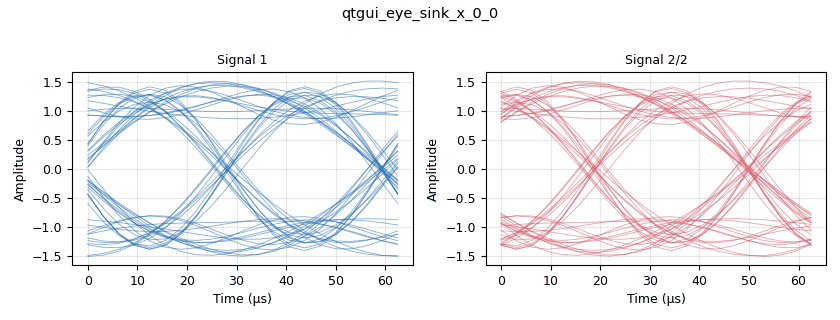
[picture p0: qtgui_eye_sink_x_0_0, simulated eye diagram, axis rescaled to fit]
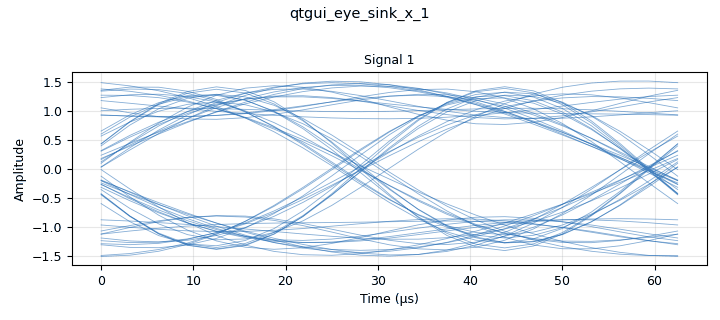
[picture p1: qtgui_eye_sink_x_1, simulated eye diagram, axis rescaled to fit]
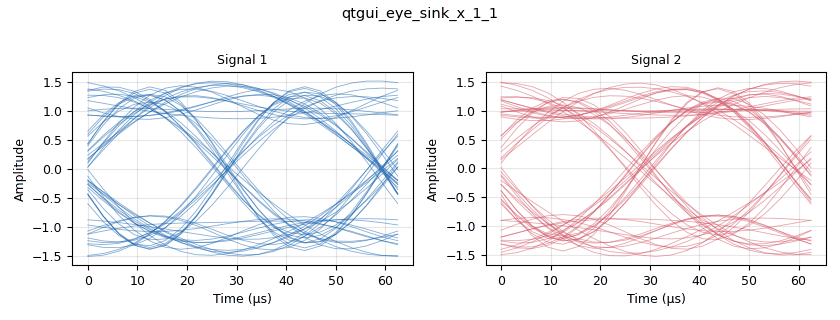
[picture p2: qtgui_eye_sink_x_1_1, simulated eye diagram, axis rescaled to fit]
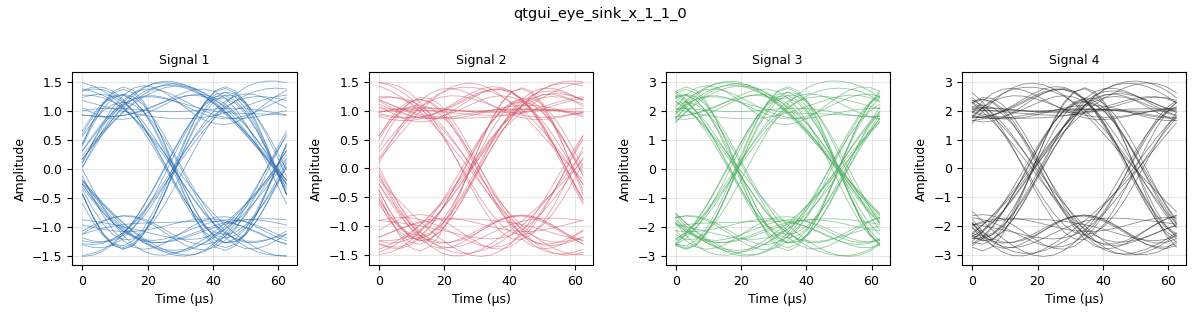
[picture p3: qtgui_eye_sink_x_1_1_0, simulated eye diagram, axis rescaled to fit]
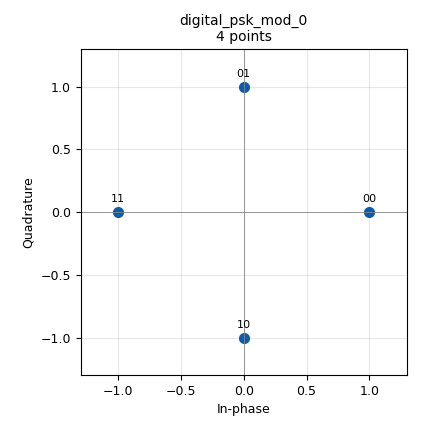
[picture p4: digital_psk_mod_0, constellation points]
options:
  parameters:
    category: Custom
    generate_options: qt_gui
    id: pyqt_eye_sink
    output_language: python
  states: {}

blocks:
- name: freq_bw
  id: variable_qtgui_range
  parameters:
    gui_hint: 1, 0, 1, 2
    orient: Qt.Horizontal
    start: '0'
    step: '0.001'
    stop: '0.1'
    value: '0'
  states: {}
- name: freq_offset
  id: variable_qtgui_range
  parameters:
    gui_hint: 0, 1, 1, 1
    label: Frequency Offset
    orient: Qt.Horizontal
    start: '-.5'
    step: '0.01'
    stop: '.5'
    value: '0'
  states: {}
- name: noise_amp
  id: variable_qtgui_range
  parameters:
    gui_hint: 0, 0, 1, 1
    label: Channel Noise
    orient: Qt.Horizontal
    start: '0'
    step: '0.01'
    stop: '1'
    value: '0'
  states: {}
- name: rolloff
  id: variable
  parameters:
    value: '0.35'
  states: {}
- name: samp_rate
  id: variable
  parameters:
    value: 32000*sps
  states: {}
- name: sps
  id: variable
  parameters:
    value: '8'
  states: {state: disabled}
- name: sps
  id: variable_qtgui_range
  parameters:
    gui_hint: 3,0,1,1
    label: Samples per symbol
    orient: Qt.Vertical
    rangeType: int
    start: '3'
    step: '1'
    stop: '10'
    value: '10'
  states: {}
- name: analog_random_source_x
  id: analog_random_source_x
  parameters:
    max: '256'
    min: '0'
    num_samps: '10000000'
    repeat: 'True'
    type: byte
  states: {}
- name: blocks_add_xx_0
  id: blocks_add_xx
  parameters:
    type: complex
  states: {state: disabled}
- name: blocks_add_xx_0_0
  id: blocks_add_xx
  parameters:
    type: complex
  states: {}
- name: blocks_add_xx_0_0_0
  id: blocks_add_xx
  parameters:
    type: complex
  states: {}
- name: blocks_complex_to_real_0
  id: blocks_complex_to_real
  parameters: {}
  states: {}
- name: blocks_complex_to_real_0_0
  id: blocks_complex_to_real
  parameters: {}
  states: {}
- name: blocks_multiply_const_vxx_0
  id: blocks_multiply_const_vxx
  parameters:
    const: '2'
    type: complex
  states: {}
- name: blocks_multiply_const_vxx_0_0
  id: blocks_multiply_const_vxx
  parameters:
    const: 1+1j
    type: complex
  states: {}
- name: blocks_null_sink_0
  id: blocks_null_sink
  parameters:
    type: float
  states: {}
- name: blocks_tags_strobe_0
  id: blocks_tags_strobe
  parameters:
    key: pmt.intern("strobe")
    nsamps: '202'
    type: complex
    value: pmt.intern("TEST")
  states: {state: disabled}
- name: blocks_tags_strobe_0_0
  id: blocks_tags_strobe
  parameters:
    key: pmt.intern("strobe")
    nsamps: '202'
    type: complex
    value: pmt.intern("TEST")
  states: {}
- name: blocks_tags_strobe_0_0_0
  id: blocks_tags_strobe
  parameters:
    key: pmt.intern("strobe")
    nsamps: '2000'
    type: complex
    value: pmt.intern("TEST")
  states: {}
- name: blocks_throttle_0
  id: blocks_throttle
  parameters:
    samples_per_second: samp_rate
    type: complex
  states: {}
- name: channels_channel_model_0
  id: channels_channel_model
  parameters:
    epsilon: '1.0'
    freq_offset: freq_offset
    noise_voltage: noise_amp
    seed: '0'
    taps: 1.0 + 1.0j
  states: {}
- name: digital_psk_mod_0
  id: digital_psk_mod
  parameters:
    constellation_points: '4'
    differential: 'False'
    excess_bw: rolloff
    mod_code: '"gray"'
    samples_per_symbol: sps
  states: {}
- name: notebook
  id: qtgui_tab_widget
  parameters:
    gui_hint: 4, 0, 6, 2
    label0: Eye Sink (Float) 2
    label1: Eye Sink (Complex) 2
    label2: Eye Sink (Float) 1
    label3: Eye Sink (Complex)1
    num_tabs: '4'
  states: {}
- name: qtgui_eye_sink_x_0
  id: qtgui_eye_sink_x
  parameters:
    color2: red
    color3: green
    color4: black
    gui_hint: notebook@1
    name: '""'
    nconnections: '2'
    samp_per_symbol: sps
    size: '1024'
    srate: samp_rate
    type: complex
  states: {state: disabled}
- name: qtgui_eye_sink_x_0_0
  id: qtgui_eye_sink_x
  parameters:
    color2: red
    entags: 'False'
    gui_hint: notebook@0
    label1: ''
    label2: Signal 2/2
    name: '""'
    nconnections: '2'
    samp_per_symbol: sps
    size: '1024'
    srate: samp_rate
    type: float
  states: {}
- name: qtgui_eye_sink_x_1
  id: qtgui_eye_sink_x
  parameters:
    entags: 'False'
    gui_hint: notebook@2
    label1: ''
    name: '""'
    samp_per_symbol: sps
    size: '1024'
    srate: samp_rate
    type: float
  states: {}
- name: qtgui_eye_sink_x_1_0
  id: qtgui_eye_sink_x
  parameters:
    color2: red
    gui_hint: notebook@3
    name: '""'
    samp_per_symbol: sps
    size: '1024'
    srate: samp_rate
    type: complex
  states: {state: disabled}
- name: qtgui_eye_sink_x_1_1
  id: qtgui_eye_sink_x
  parameters:
    color2: red
    entags: 'False'
    gui_hint: notebook@3
    label1: ''
    name: '""'
    samp_per_symbol: sps
    size: '1024'
    srate: samp_rate
    type: complex
  states: {}
- name: qtgui_eye_sink_x_1_1_0
  id: qtgui_eye_sink_x
  parameters:
    color2: red
    color3: green
    color4: black
    entags: 'False'
    gui_hint: notebook@1
    label1: ''
    label2: ''
    name: '""'
    nconnections: '2'
    samp_per_symbol: sps
    size: '1024'
    srate: samp_rate
    type: complex
  states: {}

connections:
- [analog_random_source_x, '0', digital_psk_mod_0, '0']
- [blocks_add_xx_0, '0', blocks_throttle_0, '0']
- [blocks_add_xx_0_0, '0', qtgui_eye_sink_x_1_1_0, '0']
- [blocks_add_xx_0_0_0, '0', blocks_complex_to_real_0_0, '0']
- [blocks_complex_to_real_0, '0', qtgui_eye_sink_x_0_0, '0']
- [blocks_complex_to_real_0, '0', qtgui_eye_sink_x_1, '0']
- [blocks_complex_to_real_0_0, '0', blocks_null_sink_0, '0']
- [blocks_complex_to_real_0_0, '0', qtgui_eye_sink_x_0_0, '1']
- [blocks_multiply_const_vxx_0, '0', qtgui_eye_sink_x_0, '1']
- [blocks_multiply_const_vxx_0, '0', qtgui_eye_sink_x_1_0, '0']
- [blocks_multiply_const_vxx_0, '0', qtgui_eye_sink_x_1_1_0, '1']
- [blocks_multiply_const_vxx_0_0, '0', blocks_add_xx_0_0, '0']
- [blocks_multiply_const_vxx_0_0, '0', blocks_complex_to_real_0, '0']
- [blocks_multiply_const_vxx_0_0, '0', qtgui_eye_sink_x_0, '0']
- [blocks_multiply_const_vxx_0_0, '0', qtgui_eye_sink_x_1_1, '0']
- [blocks_tags_strobe_0, '0', blocks_add_xx_0, '1']
- [blocks_tags_strobe_0_0, '0', blocks_add_xx_0_0, '1']
- [blocks_tags_strobe_0_0_0, '0', blocks_add_xx_0_0_0, '1']
- [blocks_throttle_0, '0', blocks_multiply_const_vxx_0_0, '0']
- [blocks_throttle_0, '0', channels_channel_model_0, '0']
- [channels_channel_model_0, '0', blocks_add_xx_0_0_0, '0']
- [channels_channel_model_0, '0', blocks_multiply_const_vxx_0, '0']
- [digital_psk_mod_0, '0', blocks_add_xx_0, '0']
- [digital_psk_mod_0, '0', blocks_throttle_0, '0']

metadata:
  file_format: 1
